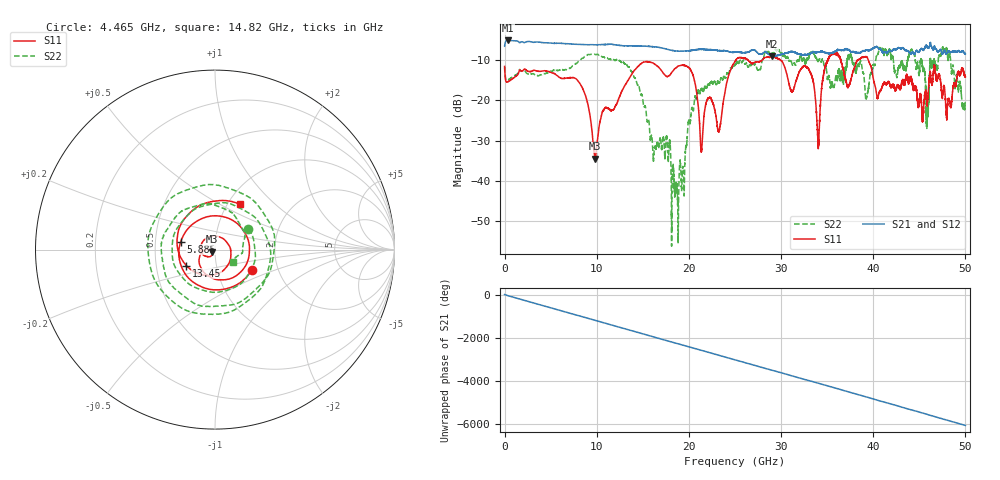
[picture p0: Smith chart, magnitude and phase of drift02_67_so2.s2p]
!Created with skrf (http://scikit-rf.org).
# Hz S RI R 50.0
!freq ReS11 ImS11 ReS21 ImS21 ReS12 ImS12 ReS22 ImS22
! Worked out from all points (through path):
!   10001 points, 300 kHz to 50 GHz, reference 50 ohm
!   highest |S21| = -5.04 dB at 325.3 MHz (marker M1); lowest = -9.0 dB at 29.05 GHz (marker M2)
!   group delay of S21, straight-line fit = 336 ps
!   lowest |S11| = -34.5 dB at 9.84 GHz (marker M3), VSWR 1.04, Z = 48.5 - j1.04 ohm
!   |S11| at or under -10 dB: start of sweep to 25.07 GHz; 30 GHz to 35.05 GHz (5.049 GHz wide, 15.5 % of centre); 39.48 GHz to end of sweep (the widest 3 of 9)
!   |S22| runs from -56.3 to -6.7 dB; largest |S21 - S12| = 0.022
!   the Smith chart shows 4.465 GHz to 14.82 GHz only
!   S11 on the Smith chart (normalised r, x): 4.465 GHz: 1.47, -0.34; 5.885 GHz: 0.68, +0.06; 13.45 GHz: 0.71, -0.13; 14.82 GHz: 1.13, +0.63
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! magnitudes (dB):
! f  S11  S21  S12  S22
! 300 kHz  -11.5  -6.5  -6.4  -11.5
! 325.3 MHz  -15.4  -5.0  -5.0  -15.1
! 4.465 GHz  -12.6  -5.6  -5.6  -13.3
! 5.885 GHz  -14.2  -5.7  -5.7  -12.5
! 8.335 GHz  -16.4  -6.1  -6.0  -9.6
! 9.84 GHz  -34.5  -6.1  -6.1  -8.5
! 13.45 GHz  -14.8  -6.4  -6.4  -11.6
! 14.82 GHz  -10.8  -6.4  -6.4  -18.5
! 16.67 GHz  -11.6  -6.7  -6.7  -31.2
! 18.66 GHz  -11.8  -7.7  -7.7  -40.8
! 20.37 GHz  -13.3  -7.5  -7.5  -21.9
! 21.37 GHz  -32.3  -7.2  -7.2  -16.9
! 23.31 GHz  -27.3  -7.6  -7.6  -15.6
! 25 GHz  -10.3  -8.0  -8.0  -11.2
! 29.05 GHz  -9.1  -9.0  -9.0  -8.1
! 33.34 GHz  -13.9  -8.1  -8.2  -8.0
! 34.02 GHz  -31.3  -7.9  -7.9  -10.3
! 35.5 GHz  -8.4  -8.2  -8.1  -15.5
! 41.67 GHz  -15.4  -7.7  -7.7  -7.5
! 45.85 GHz  -20.4  -6.7  -6.7  -20.2
! 47.77 GHz  -17.6  -7.6  -7.6  -7.4
! 50 GHz  -14.1  -8.4  -8.4  -20.0
